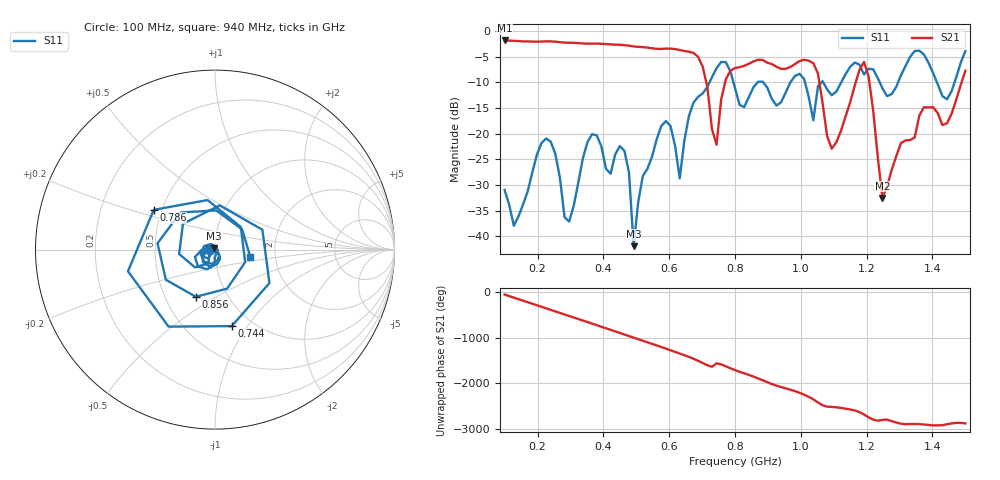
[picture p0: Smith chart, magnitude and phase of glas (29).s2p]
! NanoVNA-App
! Date: 2025-09-25 15:55:42
! Start: 100MHz Stop: 1,5GHz Points: 101
! S-Parameter data: F S11 S21 S12 S22
# Hz S RI R 50
!  Frequency  S11_Real  S11_Imag  S21_Real  S21_Imag  S12_Real  S12_Imag  S22_Real  S22_Imag
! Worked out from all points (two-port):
!   101 points, 100 MHz to 1.5 GHz, reference 50 ohm
!   highest |S21| = -1.80 dB at 100 MHz (marker M1); lowest = -32.5 dB at 1.248 GHz (marker M2)
!   |S21| within 3 dB of the highest: start of sweep to 684.4 MHz
!   lowest |S11| = -41.9 dB at 492 MHz (marker M3), VSWR 1.02, Z = 49.5 + j0.629 ohm
!   |S11| at or under -10 dB: start of sweep to 722.4 MHz; 795.4 MHz to 868.3 MHz (72.9 MHz wide, 8.76 % of centre); 886 MHz to 967.9 MHz (81.95 MHz wide, 8.84 % of centre) (the widest 3 of 7)
!   S12 and S22 are empty: the file has one direction only
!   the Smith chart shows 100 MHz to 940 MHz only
!   S11 on the Smith chart (normalised r, x): 100 MHz: 0.95, -0.01; 744 MHz: 0.81, -0.85; 786 MHz: 0.45, +0.24; 856 MHz: 0.71, -0.41; 940 MHz: 1.49, -0.14
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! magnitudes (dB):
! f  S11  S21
! 100 MHz  -31.0  -1.8
! 128 MHz  -37.9  -1.9
! 226 MHz  -20.9  -2.0
! 296 MHz  -37.1  -2.2
! 338 MHz  -24.7  -2.4
! 464 MHz  -23.3  -2.7
! 492 MHz  -41.9  -3.0
! 576 MHz  -18.5  -3.5
! 632 MHz  -28.7  -3.7
! 702 MHz  -12.1  -6.9
! 744 MHz  -7.2  -22.1
! 786 MHz  -7.8  -7.7
! 800 MHz  -11.1  -7.2
! 856 MHz  -10.9  -5.9
! 940 MHz  -13.9  -7.3
! 996 MHz  -8.3  -5.8
! 1.038 GHz  -17.4  -6.2
! 1.094 GHz  -12.5  -22.9
! 1.192 GHz  -8.4  -6.0
! 1.248 GHz  -11.1  -32.5
! 1.276 GHz  -12.3  -27.1
! 1.5 GHz  -3.9  -7.7
